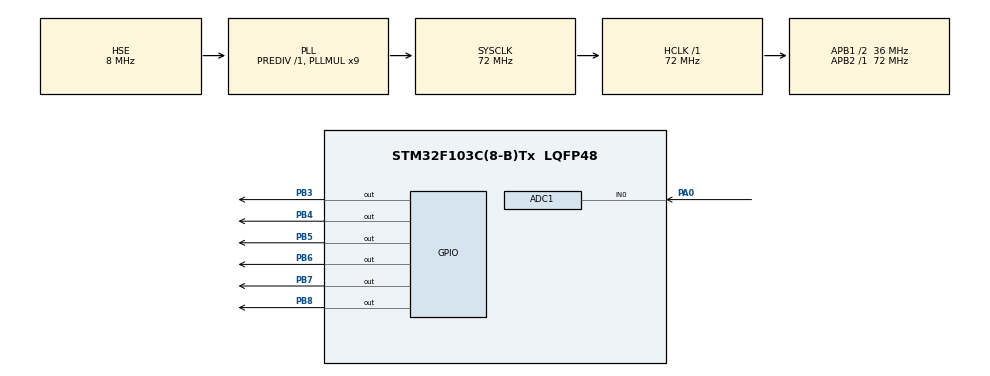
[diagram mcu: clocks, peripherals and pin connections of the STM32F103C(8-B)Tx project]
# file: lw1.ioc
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ADC1.Channel-0\#ChannelRegularConversion=ADC_CHANNEL_0
ADC1.NbrOfConversionFlag=1
ADC1.Rank-0\#ChannelRegularConversion=1
ADC1.SamplingTime-0\#ChannelRegularConversion=ADC_SAMPLETIME_7CYCLES_5
ADC1.master=1
Mcu.Family=STM32F1
Mcu.Name=STM32F103C(8-B)Tx
Mcu.Package=LQFP48
NVIC.PriorityGroup=NVIC_PRIORITYGROUP_4
PA0-WKUP.Signal=ADCx_IN0
PA13.Mode=Serial_Wire
PA13.Signal=SYS_JTMS-SWDIO
PA14.Mode=Serial_Wire
PA14.Signal=SYS_JTCK-SWCLK
PB3.Signal=GPIO_Output
PB4.Signal=GPIO_Output
PB5.Signal=GPIO_Output
PB6.Signal=GPIO_Output
PB7.Signal=GPIO_Output
PB8.Signal=GPIO_Output
PD0-OSC_IN.Mode=HSE-External-Oscillator
PD0-OSC_IN.Signal=RCC_OSC_IN
PD1-OSC_OUT.Mode=HSE-External-Oscillator
PD1-OSC_OUT.Signal=RCC_OSC_OUT
ProjectManager.HeapSize=0x200
ProjectManager.StackSize=0x400
ProjectManager.TargetToolchain=Makefile
RCC.ADCPresc=RCC_ADCPCLK2_DIV6
RCC.AHBFreq_Value=72000000
RCC.APB1CLKDivider=RCC_HCLK_DIV2
RCC.APB1Freq_Value=36000000
RCC.APB1TimFreq_Value=72000000
RCC.APB2Freq_Value=72000000
RCC.APB2TimFreq_Value=72000000
RCC.HCLKFreq_Value=72000000
RCC.PLLMUL=RCC_PLL_MUL9
RCC.PLLSourceVirtual=RCC_PLLSOURCE_HSE
RCC.SYSCLKFreq_VALUE=72000000
RCC.SYSCLKSource=RCC_SYSCLKSOURCE_PLLCLK
RCC.USBFreq_Value=72000000
SH.ADCx_IN0.0=ADC1_IN0,IN0
board=custom

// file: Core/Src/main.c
/* USER CODE BEGIN Header */
/**
  ******************************************************************************
  * @file           : main.c
  * @brief          : Main program body
  ******************************************************************************
  * @attention
  *
  * Copyright (c) 2026 STMicroelectronics.
  * All rights reserved.
  *
  * This software is licensed under terms that can be found in the LICENSE file
  * in the root directory of this software component.
  * If no LICENSE file comes with this software, it is provided AS-IS.
  *
  ******************************************************************************
  */
/* USER CODE END Header */
#include "main.h"
#include "adc.h"
#include "gpio.h"

/* USER CODE BEGIN Includes */
// !!!
#include "lcd.h"
#include "stdio.h"
/* USER CODE END Includes */

/* USER CODE BEGIN PV */
// !!!
uint16_t i;
char str[50];
char voltage_str[10];
uint16_t adc_val;
/* USER CODE END PV */

void SystemClock_Config(void);

int main(void)
{

  /* MCU Configuration--------------------------------------------------------*/

  /* Reset of all peripherals, Initializes the Flash interface and the Systick. */
  HAL_Init();

  /* Configure the system clock */
  SystemClock_Config();

  /* Initialize all configured peripherals */
  MX_GPIO_Init();
  MX_ADC1_Init();
  /* USER CODE BEGIN 2 */
  // !!!
  LCD_init();
  LCD_String("Voltage: ");
  HAL_ADCEx_Calibration_Start(&hadc1); // Калібрування
  HAL_ADC_Start_IT(&hadc1);           // Запуск АЦП в режимі переривань
  HAL_TIM_Base_Start(&htim3);         // Запуск таймера-тригера
  /* USER CODE END 2 */

  /* Infinite loop */
  /* USER CODE BEGIN WHILE */
  // !!!
  while (1)
  {
      // Розрахунок напруги: (ADC_val * Vref) / Max_Code
      adc_val = ((float)HAL_ADC_GetValue(&hadc1) * 3.3 / 4096);

      sprintf(str, "%.2fv", u);
      LCD_SetPos(9, 0);
      LCD_String(str);

      HAL_Delay(100);
      HAL_GPIO_WritePin(LED_GPIO_Port, LED_Pin, GPIO_PIN_SET);
    /* USER CODE END WHILE */

  }
}

void SystemClock_Config(void)
{
  RCC_OscInitTypeDef RCC_OscInitStruct = {0};
  RCC_ClkInitTypeDef RCC_ClkInitStruct = {0};
  RCC_PeriphCLKInitTypeDef PeriphClkInit = {0};

  /** Initializes the RCC Oscillators according to the specified parameters
  * in the RCC_OscInitTypeDef structure.
  */
  RCC_OscInitStruct.OscillatorType = RCC_OSCILLATORTYPE_HSE;
  RCC_OscInitStruct.HSEState = RCC_HSE_ON;
  RCC_OscInitStruct.HSEPredivValue = RCC_HSE_PREDIV_DIV1;
  RCC_OscInitStruct.HSIState = RCC_HSI_ON;
  RCC_OscInitStruct.PLL.PLLState = RCC_PLL_ON;
  RCC_OscInitStruct.PLL.PLLSource = RCC_PLLSOURCE_HSE;
  RCC_OscInitStruct.PLL.PLLMUL = RCC_PLL_MUL9;
  if (HAL_RCC_OscConfig(&RCC_OscInitStruct) != HAL_OK)
  {
    Error_Handler();
  }

  /** Initializes the CPU, AHB and APB buses clocks
  */
  RCC_ClkInitStruct.ClockType = RCC_CLOCKTYPE_HCLK|RCC_CLOCKTYPE_SYSCLK
                              |RCC_CLOCKTYPE_PCLK1|RCC_CLOCKTYPE_PCLK2;
  RCC_ClkInitStruct.SYSCLKSource = RCC_SYSCLKSOURCE_PLLCLK;
  RCC_ClkInitStruct.AHBCLKDivider = RCC_SYSCLK_DIV1;
  RCC_ClkInitStruct.APB1CLKDivider = RCC_HCLK_DIV2;
  RCC_ClkInitStruct.APB2CLKDivider = RCC_HCLK_DIV1;

  if (HAL_RCC_ClockConfig(&RCC_ClkInitStruct, FLASH_LATENCY_2) != HAL_OK)
  {
    Error_Handler();
  }
  PeriphClkInit.PeriphClockSelection = RCC_PERIPHCLK_ADC;
  PeriphClkInit.AdcClockSelection = RCC_ADCPCLK2_DIV6;
  if (HAL_RCCEx_PeriphCLKConfig(&PeriphClkInit) != HAL_OK)
  {
    Error_Handler();
  }
}

void Error_Handler(void)
{
  __disable_irq();
  while (1)
  {
  }
}
